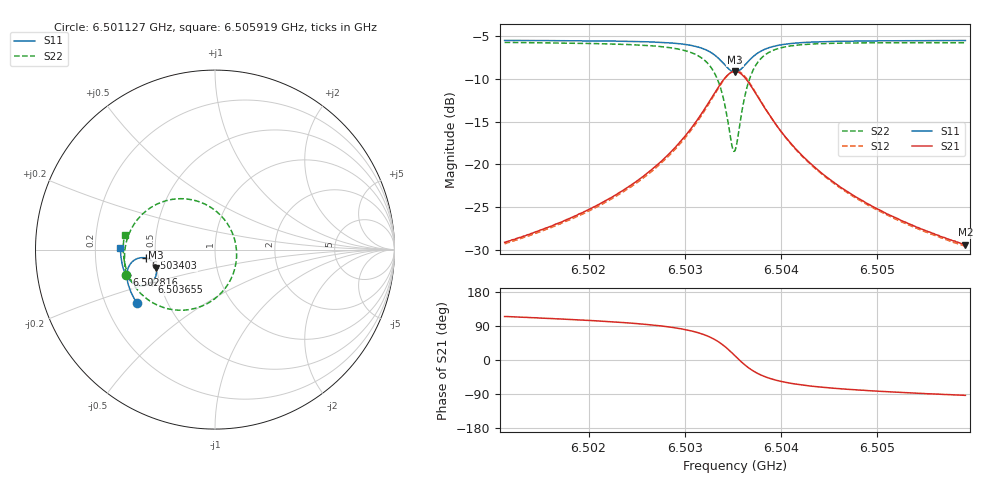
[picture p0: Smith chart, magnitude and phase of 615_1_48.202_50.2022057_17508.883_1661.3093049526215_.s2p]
#  HZ  S  RI  R  50.00
! Rohde & Schwarz Vector Network Analyzer
! Rohde-Schwarz,ZNB20-2Port,1311601062101988,3.16
! Created: UTC 3/20/2024, 12:03:39 PM
! freq[Hz]  re:S11  im:S11  re:S21  im:S21  re:S12  im:S12  re:S22  im:S22
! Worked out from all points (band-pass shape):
!   401 points, 6.501127 GHz to 6.505919 GHz, reference 50 ohm
!   highest |S21| = -9.17 dB at 6.503523 GHz (marker M1); lowest = -29.3 dB at 6.505919 GHz (marker M2)
!   |S21| within 3 dB of the highest: 6.503284 GHz to 6.503763 GHz (479.2 kHz wide, 0.00737 % of centre)
!   lowest |S11| = -9.3 dB at 6.503523 GHz (marker M3), VSWR 2.05, Z = 24.8 - j5.65 ohm
!   |S11| at or under -10 dB: nowhere
!   |S22| runs from -18.5 to -5.8 dB; largest |S21 - S12| = 0.012
!   S11 on the Smith chart (normalised r, x): 6.501127 GHz: 0.34, -0.28; 6.502816 GHz: 0.33, -0.13; 6.503403 GHz: 0.44, -0.05; 6.503655 GHz: 0.45, -0.19; 6.505919 GHz: 0.31, +0.01
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6.5011274e9  -0.4345 -0.2981  -0.0147 0.032  -0.013 0.032  -0.4941 -0.1396
6.5019299e9  -0.4678 -0.2371  -0.0138 0.0503  -0.0114 0.0499  -0.5045 -0.0516
6.5023611e9  -0.4824 -0.1979  -0.0107 0.0699  -0.00762 0.0689  -0.5 0.0122
6.5027325e9  -0.4905 -0.1554  -0.000883 0.1014  0.00285 0.099  -0.4781 0.0903
6.5028163e9  -0.4908 -0.1435  0.00416 0.1122  0.00792 0.1093  -0.4672 0.1133
6.5030199e9  -0.4861 -0.1096  0.0273 0.1475  0.0311 0.143  -0.4189 0.1829
6.5031637e9  -0.4712 -0.0794  0.0657 0.1818  0.0687 0.1758  -0.3444 0.2423
6.5033074e9  -0.4322 -0.0496  0.1496 0.2109  0.1504 0.2046  -0.1919 0.2836
6.5033553e9  -0.4104 -0.0449  0.193 0.2094  0.1934 0.2038  -0.1154 0.2747
6.5034032e9  -0.3845 -0.0473  0.2432 0.1937  0.2435 0.1892  -0.0295 0.2391
6.5034871e9  -0.3403 -0.0776  0.3234 0.1169  0.3264 0.1128  0.0987 0.0878
6.503523e9  -0.3291 -0.1005  0.3413 0.0669  0.3456 0.0614  0.12 -0.00633
6.503547e9  -0.3261 -0.1172  0.3449 0.0312  0.3495 0.0244  0.1173 -0.0715
6.5035829e9  -0.3285 -0.1421  0.3372 -0.0202  0.3413 -0.0295  0.0891 -0.1632
6.5036548e9  -0.3513 -0.1803  0.289 -0.0986  0.2894 -0.1106  -0.0244 -0.2897
6.5037506e9  -0.3933 -0.2007  0.2085 -0.1427  0.2036 -0.1535  -0.1884 -0.3378
6.5039063e9  -0.4439 -0.1931  0.1181 -0.1418  0.1107 -0.1477  -0.3529 -0.2924
6.504074e9  -0.4733 -0.172  0.0691 -0.1203  0.0623 -0.1229  -0.4327 -0.2236
6.5043256e9  -0.4961 -0.1405  0.0351 -0.0928  0.0303 -0.0933  -0.4813 -0.1444
6.5046849e9  -0.5119 -0.1018  0.0155 -0.0682  0.0121 -0.0679  -0.5044 -0.0682
6.5051281e9  -0.5212 -0.0599  0.00544 -0.0505  0.00292 -0.0499  -0.5111 -0.00238
6.5059186e9  -0.5266 0.00786  -0.00195 -0.0341  -0.00336 -0.0333  -0.504 0.084
